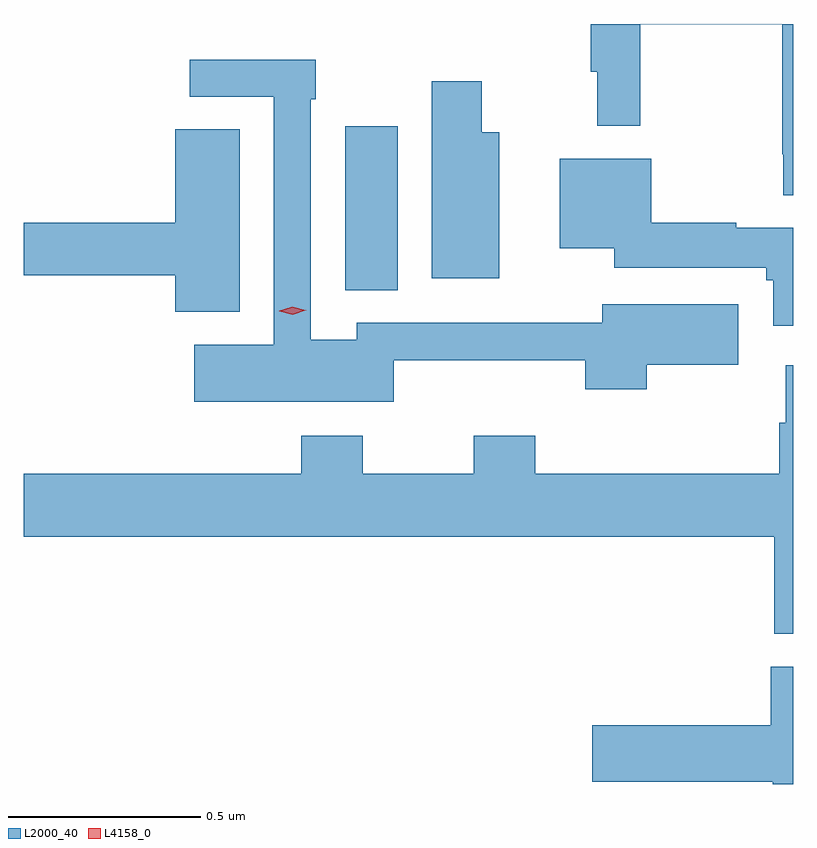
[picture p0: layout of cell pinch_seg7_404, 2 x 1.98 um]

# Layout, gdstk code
import gdstk
lib = gdstk.Library(unit=1e-6, precision=1e-09)
def R(c, l, rs):  # rectangles x0, y0, x1, y1
    for r in rs: c.add(gdstk.rectangle(r[:2], r[2:], *l))
def P(c, l, *ps):  # polygons
    for p in ps: c.add(gdstk.Polygon(p, *l))
L2000_40 = (2000, 40)
L4158_0 = (4158, 0)

pinch_seg7_404 = lib.new_cell('pinch_seg7_404')
R(pinch_seg7_404, L2000_40, [(521.003,1014.577,521.14,1015.003)])
P(pinch_seg7_404, L2000_40, [(522.168,1015.269),(520.168,1015.269),(520.168,1015.268),(521.641,1015.268),(521.641,1015.145),(521.659,1015.145),(521.659,1015.005),(521.77,1015.005),(521.77,1015.268),(522.139,1015.268),(522.139,1014.931),(522.142,1014.931),(522.142,1014.824),(522.168,1014.824)],
  [(521.13,1014.395),(521.627,1014.395),(521.627,1014.32),(521.787,1014.32),(521.787,1014.383),(522.025,1014.383),(522.025,1014.541),(521.672,1014.541),(521.672,1014.492),(521.034,1014.492),(521.034,1014.448),(520.914,1014.448),(520.914,1015.073),(520.927,1015.073),(520.927,1015.176),(520.599,1015.176),(520.599,1015.08),(520.818,1015.08),(520.818,1014.436),(520.611,1014.436),(520.611,1014.287),(521.13,1014.287)],
  [(521.404,1014.988),(521.358,1014.988),(521.358,1015.12),(521.228,1015.12),(521.228,1014.608),(521.404,1014.608)],
  [(520.729,1014.995),(520.562,1014.995),(520.562,1014.752),(520.168,1014.752),(520.168,1014.616),(520.562,1014.616),(520.562,1014.521),(520.729,1014.521)],
  [(522.168,1014.739),(522.02,1014.739),(522.02,1014.752),(521.799,1014.752),(521.799,1014.919),(521.561,1014.919),(521.561,1014.686),(521.703,1014.686),(521.703,1014.636),(522.098,1014.636),(522.098,1014.603),(522.116,1014.603),(522.116,1014.485),(522.168,1014.485)],
  [(522.168,1014.382),(522.149,1014.382),(522.149,1014.233),(522.132,1014.233),(522.132,1014.1),(521.498,1014.1),(521.498,1014.199),(521.338,1014.199),(521.338,1014.1),(521.049,1014.1),(521.049,1014.199),(520.889,1014.199),(520.889,1014.1),(520.168,1014.1),(520.168,1013.936),(522.119,1013.936),(522.119,1013.684),(522.168,1013.684)],
  [(522.168,1013.599),(522.11,1013.599),(522.11,1013.447),(521.645,1013.447),(521.645,1013.3),(522.114,1013.3),(522.114,1013.294),(522.168,1013.294)])
P(pinch_seg7_404, L4158_0, [(520.867,1014.514),(520.832,1014.523),(520.832,1014.523),(520.832,1014.524),(520.866,1014.534),(520.901,1014.525),(520.902,1014.525),(520.901,1014.525)])

lib.write_gds('pinch_seg7_404.gds')
